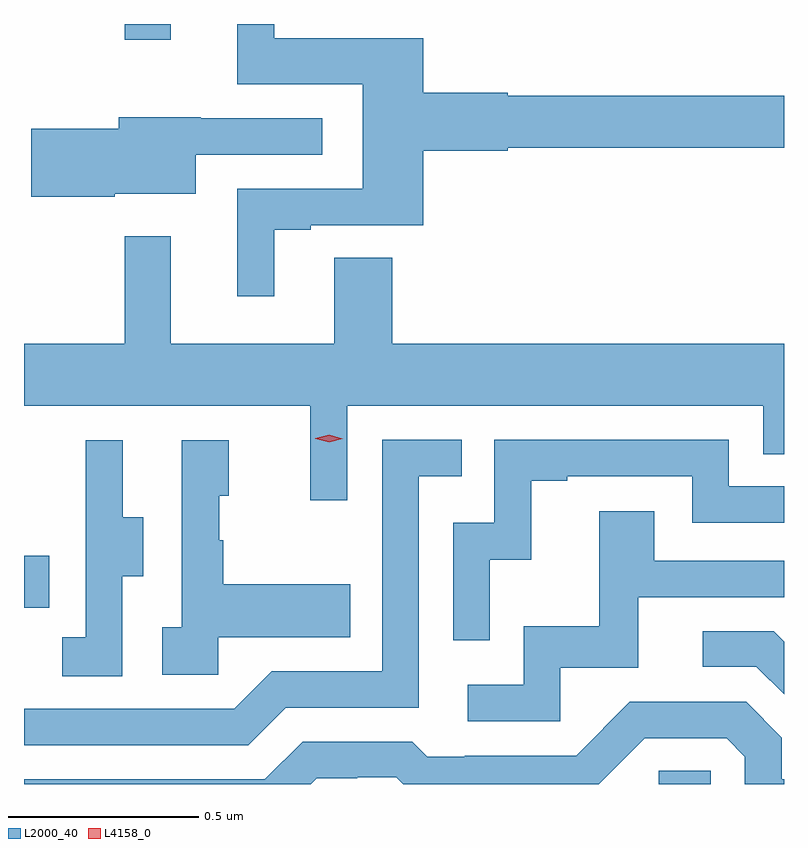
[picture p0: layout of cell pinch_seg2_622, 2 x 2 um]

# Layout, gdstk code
import gdstk
lib = gdstk.Library(unit=1e-6, precision=1e-09)
def R(c, l, rs):  # rectangles x0, y0, x1, y1
    for r in rs: c.add(gdstk.rectangle(r[:2], r[2:], *l))
def P(c, l, *ps):  # polygons
    for p in ps: c.add(gdstk.Polygon(p, *l))
L2000_40 = (2000, 40)
L4158_0 = (4158, 0)

pinch_seg2_622 = lib.new_cell('pinch_seg2_622')
R(pinch_seg2_622, L2000_40, [(1032.361,610.677,1032.498,610.712), (1030.691,611.141,1030.757,611.278), (1030.956,612.636,1031.077,612.677)])
P(pinch_seg2_622, L2000_40, [(1031.35,612.135),(1031.446,612.135),(1031.446,612.147),(1031.741,612.147),(1031.741,612.344),(1031.964,612.344),(1031.964,612.352),(1032.691,612.352),(1032.691,612.488),(1031.964,612.488),(1031.964,612.496),(1031.741,612.496),(1031.741,612.64),(1031.35,612.64),(1031.35,612.677),(1031.252,612.677),(1031.252,612.518),(1031.582,612.518),(1031.582,612.243),(1031.252,612.243),(1031.252,611.961),(1031.35,611.961)],
  [(1030.93,612.23),(1031.143,612.23),(1031.143,612.333),(1031.476,612.333),(1031.476,612.429),(1031.156,612.429),(1031.156,612.431),(1030.94,612.431),(1030.94,612.401),(1030.71,612.401),(1030.71,612.223),(1030.93,612.223)],
  [(1031.541,611.672),(1032.636,611.672),(1032.636,611.545),(1032.691,611.545),(1032.691,611.836),(1031.66,611.836),(1031.66,612.062),(1031.507,612.062),(1031.507,611.836),(1031.077,611.836),(1031.077,612.118),(1030.956,612.118),(1030.956,611.836),(1030.691,611.836),(1030.691,611.672),(1031.444,611.672),(1031.444,611.424),(1031.541,611.424)],
  [(1031.38,610.878),(1031.73,610.878),(1031.73,611.487),(1031.843,611.487),(1031.843,611.583),(1031.634,611.583),(1031.634,610.974),(1031.343,610.974),(1031.244,610.875),(1030.691,610.875),(1030.691,610.779),(1031.281,610.779)],
  [(1031.916,611.267),(1032.026,611.267),(1032.026,611.475),(1032.121,611.475),(1032.121,611.487),(1032.45,611.487),(1032.45,611.364),(1032.691,611.364),(1032.691,611.46),(1032.546,611.46),(1032.546,611.583),(1031.928,611.583),(1031.928,611.364),(1031.82,611.364),(1031.82,611.055),(1031.916,611.055)],
  [(1031.202,611.063),(1031.549,611.063),(1031.549,611.203),(1031.215,611.203),(1031.215,611.318),(1031.205,611.318),(1031.205,611.436),(1031.23,611.436),(1031.23,611.581),(1031.106,611.581),(1031.106,611.09),(1031.055,611.09),(1031.055,610.965),(1031.202,610.965)],
  [(1030.95,611.224),(1031.005,611.224),(1031.005,611.379),(1030.951,611.379),(1030.951,611.581),(1030.853,611.581),(1030.853,611.367),(1030.854,611.367),(1030.854,611.063),(1030.791,611.063),(1030.791,610.96),(1030.95,610.96)],
  [(1032.102,610.983),(1032.307,610.983),(1032.307,611.169),(1032.691,611.169),(1032.691,611.265),(1032.349,611.265),(1032.349,611.395),(1032.205,611.395),(1032.205,611.092),(1032.006,611.092),(1032.006,610.938),(1031.859,610.938),(1031.859,610.842),(1032.102,610.842)],
  [(1032.691,611.052),(1032.664,611.079),(1032.477,611.079),(1032.477,610.986),(1032.618,610.986),(1032.691,610.913)],
  [(1031.461,610.692),(1031.568,610.692),(1031.568,610.695),(1031.671,610.695),(1031.689,610.677),(1032.204,610.677),(1032.324,610.797),(1032.54,610.797),(1032.588,610.749),(1032.588,610.677),(1032.691,610.677),(1032.691,610.689),(1032.685,610.689),(1032.685,610.799),(1032.591,610.893),(1032.285,610.893),(1032.144,610.752),(1031.851,610.752),(1031.851,610.749),(1031.752,610.749),(1031.713,610.788),(1031.424,610.788),(1031.325,610.689),(1030.691,610.689),(1030.691,610.677),(1031.446,610.677)])
P(pinch_seg2_622, L4158_0, [(1031.494,611.576),(1031.458,611.586),(1031.458,611.586),(1031.458,611.587),(1031.494,611.596),(1031.53,611.586),(1031.53,611.586),(1031.53,611.586)])

lib.write_gds('pinch_seg2_622.gds')
